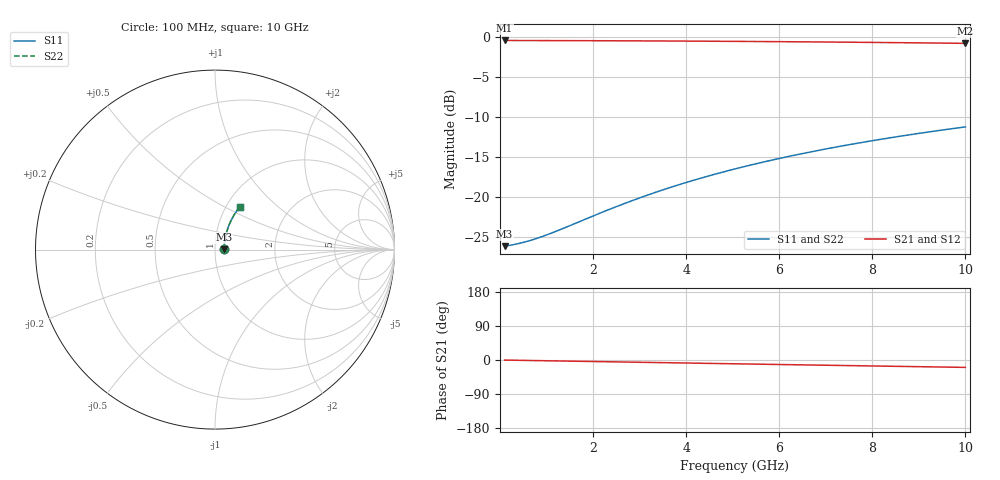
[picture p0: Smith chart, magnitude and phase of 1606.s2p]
# Hz S RI R 50.00
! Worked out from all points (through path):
!   100 points, 100 MHz to 10 GHz, reference 50 ohm
!   highest |S21| = -0.44 dB at 100 MHz (marker M1); lowest = -0.8 dB at 10 GHz (marker M2)
!   group delay of S21, straight-line fit = 5.42 ps
!   lowest |S11| = -26.1 dB at 100 MHz (marker M3), VSWR 1.10, Z = 55.2 + j0.294 ohm
!   |S11| at or under -10 dB: start of sweep to end of sweep
!   |S22| runs from -26.1 to -11.2 dB; largest |S21 - S12| = 0
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1e8  0.0493 0.00265  0.9507 -0.00332  0.9507 -0.00332  0.0493 0.00265
4e8  0.0501 0.0106  0.9499 -0.0133  0.9499 -0.0133  0.0501 0.0106
6e8  0.0506 0.0159  0.9494 -0.0199  0.9494 -0.0199  0.0506 0.0159
8e8  0.0511 0.0212  0.9489 -0.0265  0.9489 -0.0265  0.0511 0.0212
1e9  0.0516 0.0264  0.9483 -0.0331  0.9483 -0.0331  0.0516 0.0264
1.2e9  0.0522 0.0317  0.9478 -0.0397  0.9478 -0.0397  0.0522 0.0317
1.8e9  0.0542 0.0474  0.9457 -0.0595  0.9457 -0.0595  0.0542 0.0474
2.2e9  0.0559 0.0578  0.9439 -0.0725  0.9439 -0.0725  0.0559 0.0578
2.6e9  0.0579 0.0681  0.942 -0.0856  0.942 -0.0856  0.0579 0.0681
3e9  0.0601 0.0784  0.9397 -0.0985  0.9397 -0.0985  0.0601 0.0784
3.4e9  0.0625 0.0886  0.9372 -0.1114  0.9372 -0.1114  0.0625 0.0886
3.8e9  0.0653 0.0987  0.9344 -0.1242  0.9344 -0.1242  0.0653 0.0987
4.2e9  0.0683 0.1087  0.9313 -0.1368  0.9313 -0.1368  0.0683 0.1087
4.6e9  0.0715 0.1185  0.928 -0.1494  0.928 -0.1494  0.0715 0.1185
5.1e9  0.0759 0.1307  0.9235 -0.1649  0.9235 -0.1649  0.0759 0.1307
5.5e9  0.0797 0.1403  0.9195 -0.1772  0.9195 -0.1772  0.0797 0.1403
5.9e9  0.0838 0.1497  0.9154 -0.1894  0.9154 -0.1894  0.0838 0.1497
6.7e9  0.0926 0.1682  0.9063 -0.2132  0.9063 -0.2132  0.0926 0.1682
7.5e9  0.1023 0.186  0.8963 -0.2364  0.8963 -0.2364  0.1023 0.186
8.4e9  0.1143 0.2052  0.884 -0.2617  0.884 -0.2617  0.1143 0.2052
9.2e9  0.1257 0.2215  0.8723 -0.2834  0.8723 -0.2834  0.1257 0.2215
1e10  0.1379 0.237  0.8597 -0.3043  0.8597 -0.3043  0.1379 0.237
